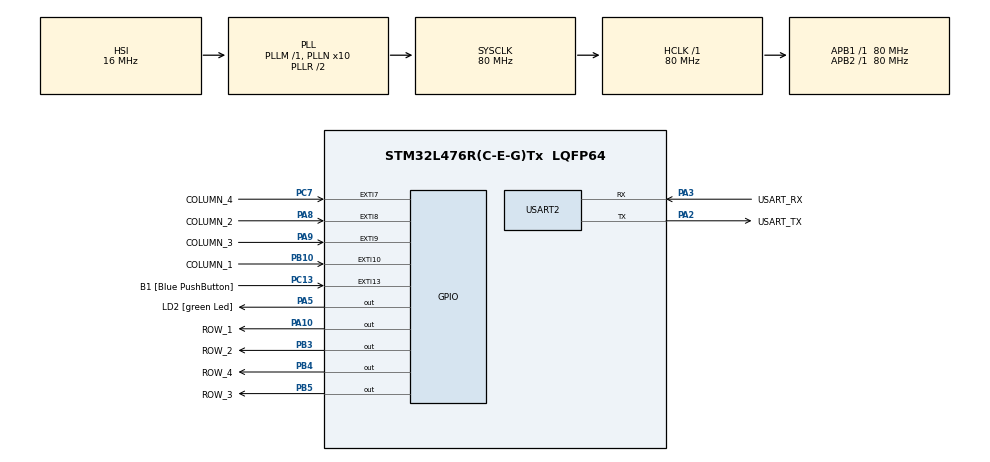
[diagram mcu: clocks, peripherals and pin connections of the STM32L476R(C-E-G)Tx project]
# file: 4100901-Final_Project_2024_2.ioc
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Mcu.Family=STM32L4
Mcu.Name=STM32L476R(C-E-G)Tx
Mcu.Package=LQFP64
NVIC.EXTI15_10_IRQn=true\:0\:0\:false\:false\:true\:true\:true\:true
NVIC.EXTI9_5_IRQn=true\:0\:0\:false\:false\:true\:true\:true\:true
NVIC.PriorityGroup=NVIC_PRIORITYGROUP_4
NVIC.USART2_IRQn=true\:0\:0\:false\:false\:true\:true\:true\:true
PA10.GPIO_Label=ROW_1
PA10.GPIO_ModeDefaultOutputPP=GPIO_MODE_OUTPUT_OD
PA10.GPIO_PuPd=GPIO_NOPULL
PA10.PinState=GPIO_PIN_RESET
PA10.Signal=GPIO_Output
PA13\ (JTMS-SWDIO).GPIO_Label=TMS
PA13\ (JTMS-SWDIO).Mode=Serial_Wire
PA13\ (JTMS-SWDIO).Signal=SYS_JTMS-SWDIO
PA14\ (JTCK-SWCLK).GPIO_Label=TCK
PA14\ (JTCK-SWCLK).Mode=Serial_Wire
PA14\ (JTCK-SWCLK).Signal=SYS_JTCK-SWCLK
PA2.GPIO_Label=USART_TX
PA2.GPIO_Mode=GPIO_MODE_AF_PP
PA2.GPIO_PuPd=GPIO_NOPULL
PA2.GPIO_Speed=GPIO_SPEED_FREQ_VERY_HIGH
PA2.Mode=Asynchronous
PA2.Signal=USART2_TX
PA3.GPIO_Label=USART_RX
PA3.GPIO_Mode=GPIO_MODE_AF_PP
PA3.GPIO_PuPd=GPIO_NOPULL
PA3.GPIO_Speed=GPIO_SPEED_FREQ_VERY_HIGH
PA3.Mode=Asynchronous
PA3.Signal=USART2_RX
PA5.GPIO_Label=LD2 [green Led]
PA5.GPIO_ModeDefaultOutputPP=GPIO_MODE_OUTPUT_PP
PA5.GPIO_PuPd=GPIO_NOPULL
PA5.GPIO_Speed=GPIO_SPEED_FREQ_LOW
PA5.Signal=GPIO_Output
PA8.GPIO_Label=COLUMN_2
PA8.GPIO_ModeDefaultEXTI=GPIO_MODE_IT_FALLING
PA8.GPIO_PuPd=GPIO_PULLUP
PA8.Signal=GPXTI8
PA9.GPIO_Label=COLUMN_3
PA9.GPIO_ModeDefaultEXTI=GPIO_MODE_IT_FALLING
PA9.GPIO_PuPd=GPIO_PULLUP
PA9.Signal=GPXTI9
PB10.GPIO_Label=COLUMN_1
PB10.GPIO_ModeDefaultEXTI=GPIO_MODE_IT_FALLING
PB10.GPIO_PuPd=GPIO_PULLUP
PB10.Signal=GPXTI10
PB3\ (JTDO-TRACESWO).GPIO_Label=ROW_2
PB3\ (JTDO-TRACESWO).GPIO_ModeDefaultOutputPP=GPIO_MODE_OUTPUT_OD
PB3\ (JTDO-TRACESWO).GPIO_PuPd=GPIO_NOPULL
PB3\ (JTDO-TRACESWO).PinState=GPIO_PIN_RESET
PB3\ (JTDO-TRACESWO).Signal=GPIO_Output
PB4\ (NJTRST).GPIO_Label=ROW_4
PB4\ (NJTRST).GPIO_ModeDefaultOutputPP=GPIO_MODE_OUTPUT_OD
PB4\ (NJTRST).GPIO_PuPd=GPIO_NOPULL
PB4\ (NJTRST).PinState=GPIO_PIN_RESET
PB4\ (NJTRST).Signal=GPIO_Output
PB5.GPIO_Label=ROW_3
PB5.GPIO_ModeDefaultOutputPP=GPIO_MODE_OUTPUT_OD
PB5.GPIO_PuPd=GPIO_NOPULL
PB5.PinState=GPIO_PIN_RESET
PB5.Signal=GPIO_Output
PC13.GPIO_Label=B1 [Blue PushButton]
PC13.GPIO_ModeDefaultEXTI=GPIO_MODE_IT_FALLING
PC13.GPIO_PuPd=GPIO_NOPULL
PC13.Signal=GPXTI13
PC14-OSC32_IN\ (PC14).Mode=LSE-External-Oscillator
PC14-OSC32_IN\ (PC14).Signal=RCC_OSC32_IN
PC15-OSC32_OUT\ (PC15).Mode=LSE-External-Oscillator
PC15-OSC32_OUT\ (PC15).Signal=RCC_OSC32_OUT
PC7.GPIO_Label=COLUMN_4
PC7.GPIO_ModeDefaultEXTI=GPIO_MODE_IT_FALLING
PC7.GPIO_PuPd=GPIO_PULLUP
PC7.Signal=GPXTI7
PH0-OSC_IN\ (PH0).Signal=RCC_OSC_IN
PH1-OSC_OUT\ (PH1).Signal=RCC_OSC_OUT
ProjectManager.HeapSize=0x200
ProjectManager.StackSize=0x400
ProjectManager.TargetToolchain=CMake
RCC.ADCFreq_Value=64000000
RCC.AHBFreq_Value=80000000
RCC.APB1Freq_Value=80000000
RCC.APB1TimFreq_Value=80000000
RCC.APB2Freq_Value=80000000
RCC.APB2TimFreq_Value=80000000
RCC.CortexFreq_Value=80000000
RCC.HCLKFreq_Value=80000000
RCC.HSE_VALUE=8000000
RCC.HSI_VALUE=16000000
RCC.MSI_VALUE=4000000
RCC.PLLN=10
RCC.PLLSourceVirtual=RCC_PLLSOURCE_HSI
RCC.PREFETCH_ENABLE=1
RCC.SYSCLKFreq_VALUE=80000000
RCC.SYSCLKSource=RCC_SYSCLKSOURCE_PLLCLK
RCC.USBFreq_Value=64000000
RCC.VCOOutputFreq_Value=160000000
USART2.VirtualMode-Asynchronous=VM_ASYNC
board=NUCLEO-L476RG

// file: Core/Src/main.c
/* USER CODE BEGIN Header */
/**
  ******************************************************************************
  * @file           : main.c
  * @brief          : Main program body
  ******************************************************************************
  * @attention
  *
  * Copyright (c) 2025 STMicroelectronics.
  * All rights reserved.
  *
  * This software is licensed under terms that can be found in the LICENSE file
  * in the root directory of this software component.
  * If no LICENSE file comes with this software, it is provided AS-IS.
  *
  ******************************************************************************
  */
/* USER CODE END Header */
#include "main.h"

/* USER CODE BEGIN Includes */
#include "keypad.h"
#include "ring_buffer.h"
#include <string.h>

/* USER CODE END Includes */

/* USER CODE BEGIN PD */
#define COMMAND_LENGTH 5
const char CMD_OPEN[] = "#*A*#";
const char CMD_CLOSE[] = "#*C*#";
const char CMD_STATUS[] = "#*1*#";
const char CMD_CLEAR[] = "#*0*#";

/* USER CODE END PD */

UART_HandleTypeDef huart2;

/* USER CODE BEGIN PV */
ring_buffer_t keypad_buffer;
uint8_t keypad_buffer_mem[64];

ring_buffer_t terminal_buffer;
uint8_t terminal_buffer_mem[64];

uint32_t key_pressed_tick = 0;
uint16_t column_pressed = 0;
uint32_t debounce_tick = 0;
uint8_t byte_received;
/* USER CODE END PV */

void SystemClock_Config(void);
static void MX_GPIO_Init(void);
static void MX_USART2_UART_Init(void);
void process_commands(void);
void process_buffer_commands(ring_buffer_t *rb);
void uart_send_string(const char *str);

int main(void)
{

  /* MCU Configuration--------------------------------------------------------*/

  /* Reset of all peripherals, Initializes the Flash interface and the Systick. */

  HAL_Init();

  /* Configure the system clock */
  SystemClock_Config();

  /* Initialize all configured peripherals */
  MX_GPIO_Init();
  MX_USART2_UART_Init();

  /* Infinite loop */
  /* USER CODE BEGIN WHILE */
  keypad_init();
  ring_buffer_init(&keypad_buffer, keypad_buffer_mem, sizeof(keypad_buffer_mem));
  ring_buffer_init(&terminal_buffer, terminal_buffer_mem, sizeof(terminal_buffer_mem));
  HAL_UART_Receive_IT(&huart2, &byte_received, 1);
  while (1) {

    if (column_pressed != 0 && ((key_pressed_tick + 5) < HAL_GetTick()))
      {
          uint8_t key = keypad_scan(column_pressed);
          if (key != 0) {
              ring_buffer_write(&keypad_buffer, key);
              HAL_UART_Transmit(&huart2, &key, 1, 100);
          }
          column_pressed = 0;
      }
    process_commands();
  }
    /* USER CODE END WHILE */

}

void SystemClock_Config(void)
{
  RCC_OscInitTypeDef RCC_OscInitStruct = {0};
  RCC_ClkInitTypeDef RCC_ClkInitStruct = {0};

  /** Configure the main internal regulator output voltage
  */
  if (HAL_PWREx_ControlVoltageScaling(PWR_REGULATOR_VOLTAGE_SCALE1) != HAL_OK)
  {
    Error_Handler();
  }

  /** Initializes the RCC Oscillators according to the specified parameters
  * in the RCC_OscInitTypeDef structure.
  */
  RCC_OscInitStruct.OscillatorType = RCC_OSCILLATORTYPE_HSI;
  RCC_OscInitStruct.HSIState = RCC_HSI_ON;
  RCC_OscInitStruct.HSICalibrationValue = RCC_HSICALIBRATION_DEFAULT;
  RCC_OscInitStruct.PLL.PLLState = RCC_PLL_ON;
  RCC_OscInitStruct.PLL.PLLSource = RCC_PLLSOURCE_HSI;
  RCC_OscInitStruct.PLL.PLLM = 1;
  RCC_OscInitStruct.PLL.PLLN = 10;
  RCC_OscInitStruct.PLL.PLLP = RCC_PLLP_DIV7;
  RCC_OscInitStruct.PLL.PLLQ = RCC_PLLQ_DIV2;
  RCC_OscInitStruct.PLL.PLLR = RCC_PLLR_DIV2;
  if (HAL_RCC_OscConfig(&RCC_OscInitStruct) != HAL_OK)
  {
    Error_Handler();
  }

  /** Initializes the CPU, AHB and APB buses clocks
  */
  RCC_ClkInitStruct.ClockType = RCC_CLOCKTYPE_HCLK|RCC_CLOCKTYPE_SYSCLK
                              |RCC_CLOCKTYPE_PCLK1|RCC_CLOCKTYPE_PCLK2;
  RCC_ClkInitStruct.SYSCLKSource = RCC_SYSCLKSOURCE_PLLCLK;
  RCC_ClkInitStruct.AHBCLKDivider = RCC_SYSCLK_DIV1;
  RCC_ClkInitStruct.APB1CLKDivider = RCC_HCLK_DIV1;
  RCC_ClkInitStruct.APB2CLKDivider = RCC_HCLK_DIV1;

  if (HAL_RCC_ClockConfig(&RCC_ClkInitStruct, FLASH_LATENCY_4) != HAL_OK)
  {
    Error_Handler();
  }
}

static void MX_USART2_UART_Init(void)
{

  huart2.Instance = USART2;
  huart2.Init.BaudRate = 115200;
  huart2.Init.WordLength = UART_WORDLENGTH_8B;
  huart2.Init.StopBits = UART_STOPBITS_1;
  huart2.Init.Parity = UART_PARITY_NONE;
  huart2.Init.Mode = UART_MODE_TX_RX;
  huart2.Init.HwFlowCtl = UART_HWCONTROL_NONE;
  huart2.Init.OverSampling = UART_OVERSAMPLING_16;
  huart2.Init.OneBitSampling = UART_ONE_BIT_SAMPLE_DISABLE;
  huart2.AdvancedInit.AdvFeatureInit = UART_ADVFEATURE_NO_INIT;
  if (HAL_UART_Init(&huart2) != HAL_OK)
  {
    Error_Handler();
  }

}

static void MX_GPIO_Init(void)
{
  GPIO_InitTypeDef GPIO_InitStruct = {0};

  /* GPIO Ports Clock Enable */
  __HAL_RCC_GPIOC_CLK_ENABLE();
  __HAL_RCC_GPIOH_CLK_ENABLE();
  __HAL_RCC_GPIOA_CLK_ENABLE();
  __HAL_RCC_GPIOB_CLK_ENABLE();

  /*Configure GPIO pin Output Level */
  HAL_GPIO_WritePin(GPIOA, LD2_Pin|ROW_1_Pin, GPIO_PIN_SET);

  /*Configure GPIO pin Output Level */
  HAL_GPIO_WritePin(GPIOB, ROW_2_Pin|ROW_4_Pin|ROW_3_Pin, GPIO_PIN_SET);

  /*Configure GPIO pin : B1_Pin */
  GPIO_InitStruct.Pin = B1_Pin;
  GPIO_InitStruct.Mode = GPIO_MODE_IT_FALLING;
  GPIO_InitStruct.Pull = GPIO_NOPULL;
  HAL_GPIO_Init(B1_GPIO_Port, &GPIO_InitStruct);

  /*Configure GPIO pin : LD2_Pin */
  GPIO_InitStruct.Pin = LD2_Pin;
  GPIO_InitStruct.Mode = GPIO_MODE_OUTPUT_PP;
  GPIO_InitStruct.Pull = GPIO_NOPULL;
  GPIO_InitStruct.Speed = GPIO_SPEED_FREQ_LOW;
  HAL_GPIO_Init(LD2_GPIO_Port, &GPIO_InitStruct);

  /*Configure GPIO pin : COLUMN_1_Pin */
  GPIO_InitStruct.Pin = COLUMN_1_Pin;
  GPIO_InitStruct.Mode = GPIO_MODE_IT_FALLING;
  GPIO_InitStruct.Pull = GPIO_PULLUP;
  HAL_GPIO_Init(COLUMN_1_GPIO_Port, &GPIO_InitStruct);

  /*Configure GPIO pin : COLUMN_4_Pin */
  GPIO_InitStruct.Pin = COLUMN_4_Pin;
  GPIO_InitStruct.Mode = GPIO_MODE_IT_FALLING;
  GPIO_InitStruct.Pull = GPIO_PULLUP;
  HAL_GPIO_Init(COLUMN_4_GPIO_Port, &GPIO_InitStruct);

  /*Configure GPIO pins : COLUMN_2_Pin COLUMN_3_Pin */
  GPIO_InitStruct.Pin = COLUMN_2_Pin|COLUMN_3_Pin;
  GPIO_InitStruct.Mode = GPIO_MODE_IT_FALLING;
  GPIO_InitStruct.Pull = GPIO_PULLUP;
  HAL_GPIO_Init(GPIOA, &GPIO_InitStruct);

  /*Configure GPIO pin : ROW_1_Pin */
  GPIO_InitStruct.Pin = ROW_1_Pin;
  GPIO_InitStruct.Mode = GPIO_MODE_OUTPUT_OD;
  GPIO_InitStruct.Pull = GPIO_NOPULL;
  GPIO_InitStruct.Speed = GPIO_SPEED_FREQ_VERY_HIGH;
  HAL_GPIO_Init(ROW_1_GPIO_Port, &GPIO_InitStruct);

  /*Configure GPIO pins : ROW_2_Pin ROW_4_Pin ROW_3_Pin */
  GPIO_InitStruct.Pin = ROW_2_Pin|ROW_4_Pin|ROW_3_Pin;
  GPIO_InitStruct.Mode = GPIO_MODE_OUTPUT_OD;
  GPIO_InitStruct.Pull = GPIO_NOPULL;
  GPIO_InitStruct.Speed = GPIO_SPEED_FREQ_VERY_HIGH;
  HAL_GPIO_Init(GPIOB, &GPIO_InitStruct);

  /* EXTI interrupt init*/
  HAL_NVIC_SetPriority(EXTI9_5_IRQn, 0, 0);
  HAL_NVIC_EnableIRQ(EXTI9_5_IRQn);

  HAL_NVIC_SetPriority(EXTI15_10_IRQn, 0, 0);
  HAL_NVIC_EnableIRQ(EXTI15_10_IRQn);

}

/* USER CODE BEGIN 4 */

// Existing EXTI callback
void HAL_GPIO_EXTI_Callback(uint16_t GPIO_Pin) {
  if ((HAL_GetTick() - debounce_tick) < 200) return; // 150ms debounce
  debounce_tick = HAL_GetTick();
  column_pressed = GPIO_Pin;
  key_pressed_tick = HAL_GetTick();
}
// New UART callback
void HAL_UART_RxCpltCallback(UART_HandleTypeDef *huart) {
  if (huart == &huart2)
  {
    ring_buffer_write(&terminal_buffer, byte_received);
    HAL_UART_Transmit(&huart2, &byte_received, 1, 100); // Echo back
    HAL_UART_Receive_IT(&huart2, &byte_received, 1);
  }
}

// New helper function
void uart_send_string(const char *str) {
  HAL_UART_Transmit(&huart2, (uint8_t *)str, strlen(str), 100);
}

// New command processor
void process_buffer_commands(ring_buffer_t *rb)
{
  while (ring_buffer_size(rb) >= COMMAND_LENGTH)
  {
    uint8_t temp[COMMAND_LENGTH];
    /* Peek into the ring buffer without removing data */
    for (int i = 0; i < COMMAND_LENGTH; i++)
    {
      uint8_t pos = (rb->tail + i) % rb->capacity;
      temp[i] = rb->buffer[pos];
    }

    if (memcmp(temp, CMD_OPEN, COMMAND_LENGTH) == 0)
    {
      HAL_GPIO_WritePin(LD2_GPIO_Port, LD2_Pin, GPIO_PIN_SET);
      uart_send_string("\r\nDoor: OPEN\r\n");
      for (int i = 0; i < COMMAND_LENGTH; i++)
      {
        uint8_t dummy;
        ring_buffer_read(rb, &dummy);
      }
    }
    else if (memcmp(temp, CMD_CLOSE, COMMAND_LENGTH) == 0)
    {
      HAL_GPIO_WritePin(LD2_GPIO_Port, LD2_Pin, GPIO_PIN_RESET);
      uart_send_string("\r\nDoor: CLOSED\r\n");
      for (int i = 0; i < COMMAND_LENGTH; i++)
      {
        uint8_t dummy;
        ring_buffer_read(rb, &dummy);
      }
    }
    else if (memcmp(temp, CMD_STATUS, COMMAND_LENGTH) == 0)
    {
      uint8_t state = HAL_GPIO_ReadPin(LD2_GPIO_Port, LD2_Pin);
      uart_send_string(state ? "\r\nStatus: OPEN\r\n" : "\r\nStatus: CLOSED\r\n");
      for (int i = 0; i < COMMAND_LENGTH; i++)
      {
        uint8_t dummy;
        ring_buffer_read(rb, &dummy);
      }
    }
    else if (memcmp(temp, CMD_CLEAR, COMMAND_LENGTH) == 0)
    {
      ring_buffer_reset(rb);
      uart_send_string("\r\nBuffer cleared\r\n");
      break; // Buffer is cleared—exit processing.
    }
    else
    {
      /* No valid command found; discard one byte to slide the window */
      uint8_t discard;
      ring_buffer_read(rb, &discard);
    }
  }
}

void process_commands(void)
{
  process_buffer_commands(&terminal_buffer);
  process_buffer_commands(&keypad_buffer);
}

/* USER CODE END 4 */

void Error_Handler(void)
{
  __disable_irq();
  while (1)
  {
  }
}
